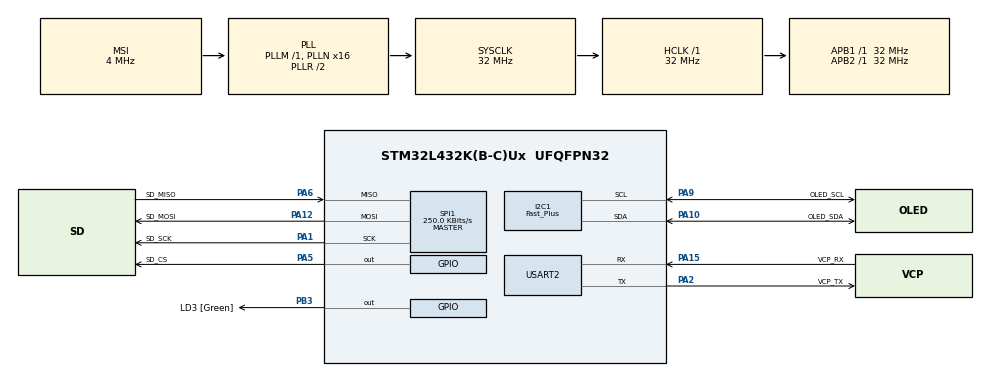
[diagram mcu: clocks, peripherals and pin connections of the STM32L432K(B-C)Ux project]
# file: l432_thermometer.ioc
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FREERTOS.BinarySemaphores01=i2cSem,Dynamic,NULL;spiSem,Dynamic,NULL
FREERTOS.Tasks01=InitDevicesTask,3,512,InitDevices_task,Default,NULL,Dynamic,NULL,NULL;ReadSHTTask,-2,128,ReadSHT_task,Default,NULL,Dynamic,NULL,NULL;DisplayDataTask,2,512,DisplayData_task,Default,NULL,Dynamic,NULL,NULL;StoreSD,-2,1024,StoreSD_task,Default,NULL,Dynamic,NULL,NULL
FREERTOS.configCHECK_FOR_STACK_OVERFLOW=1
FREERTOS.configTOTAL_HEAP_SIZE=30000
FREERTOS.configUSE_NEWLIB_REENTRANT=1
I2C1.I2C_Speed_Mode=I2C_Fast_Plus
I2C1.Timing=0x00100413
Mcu.Family=STM32L4
Mcu.Name=STM32L432K(B-C)Ux
Mcu.Package=UFQFPN32
NVIC.PriorityGroup=NVIC_PRIORITYGROUP_4
NVIC.TIM1_UP_TIM16_IRQn=true\:15\:0\:false\:false\:true\:false\:false\:true
NVIC.TimeBase=TIM1_UP_TIM16_IRQn
NVIC.TimeBaseIP=TIM16
PA0.GPIO_Label=MCO [High speed clock in]
PA0.Mode=HSE-External-Clock-Source-for-LittleOrca
PA0.Signal=RCC_CK_IN
PA1.GPIO_Label=SD_SCK
PA1.Mode=Full_Duplex_Master
PA1.Signal=SPI1_SCK
PA10.GPIO_Label=OLED_SDA
PA10.GPIO_Pu=GPIO_PULLUP
PA10.Mode=I2C
PA10.Signal=I2C1_SDA
PA12.GPIO_Label=SD_MOSI
PA12.Mode=Full_Duplex_Master
PA12.Signal=SPI1_MOSI
PA13\ (JTMS-SWDIO).GPIO_Label=SWDIO
PA13\ (JTMS-SWDIO).Mode=Serial_Wire
PA13\ (JTMS-SWDIO).Signal=SYS_JTMS-SWDIO
PA14\ (JTCK-SWCLK).GPIO_Label=SWCLK
PA14\ (JTCK-SWCLK).Mode=Serial_Wire
PA14\ (JTCK-SWCLK).Signal=SYS_JTCK-SWCLK
PA15\ (JTDI).GPIO_Label=VCP_RX
PA15\ (JTDI).Mode=Asynchronous
PA15\ (JTDI).Signal=USART2_RX
PA2.GPIO_Label=VCP_TX
PA2.Mode=Asynchronous
PA2.Signal=USART2_TX
PA5.GPIO_Label=SD_CS
PA5.Signal=GPIO_Output
PA6.GPIO_Label=SD_MISO
PA6.Mode=Full_Duplex_Master
PA6.Signal=SPI1_MISO
PA9.GPIO_Label=OLED_SCL
PA9.GPIO_Pu=GPIO_PULLUP
PA9.Mode=I2C
PA9.Signal=I2C1_SCL
PB3\ (JTDO-TRACESWO).GPIO_Label=LD3 [Green]
PB3\ (JTDO-TRACESWO).Signal=GPIO_Output
PC14-OSC32_IN\ (PC14).Mode=LSE-External-Oscillator
PC14-OSC32_IN\ (PC14).Signal=RCC_OSC32_IN
PC15-OSC32_OUT\ (PC15).Mode=LSE-External-Oscillator
PC15-OSC32_OUT\ (PC15).Signal=RCC_OSC32_OUT
ProjectManager.HeapSize=0x200
ProjectManager.StackSize=0x400
ProjectManager.TargetToolchain=STM32CubeIDE
RCC.AHBFreq_Value=32000000
RCC.APB1Freq_Value=32000000
RCC.APB1TimFreq_Value=32000000
RCC.APB2Freq_Value=32000000
RCC.APB2TimFreq_Value=32000000
RCC.CortexFreq_Value=32000000
RCC.HCLKFreq_Value=32000000
RCC.HSE_VALUE=8000000
RCC.HSI16_VALUE=16000000
RCC.HSI48_VALUE=48000000
RCC.HSI_VALUE=16000000
RCC.MSI_VALUE=4000000
RCC.PLLMUL=RCC_PLLMUL_4
RCC.PLLN=16
RCC.SYSCLKFreq_VALUE=32000000
RCC.SYSCLKSource=RCC_SYSCLKSOURCE_PLLCLK
RCC.VCOOutputFreq_Value=64000000
SPI1.BaudRatePrescaler=SPI_BAUDRATEPRESCALER_128
SPI1.CalculateBaudRate=250.0 KBits/s
SPI1.DataSize=SPI_DATASIZE_8BIT
SPI1.Direction=SPI_DIRECTION_2LINES
SPI1.Mode=SPI_MODE_MASTER
SPI1.VirtualType=VM_MASTER
USART2.VirtualMode-Asynchronous=VM_ASYNC
VP_FATFS_VS_Generic.Mode=User_defined
VP_FREERTOS_VS_CMSIS_V1.Mode=CMSIS_V1
VP_SYS_VS_tim16.Mode=TIM16
board=NUCLEO-L432KC

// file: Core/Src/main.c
/* USER CODE BEGIN Header */
/**
  ******************************************************************************
  * @file           : main.c
  * @brief          : Main program body
  ******************************************************************************
  * @attention
  *
  * <h2><center>&copy; Copyright (c) 2021 STMicroelectronics.
  * All rights reserved.</center></h2>
  *
  * This software component is licensed by ST under BSD 3-Clause license,
  * the "License"; You may not use this file except in compliance with the
  * License. You may obtain a copy of the License at:
  *                        opensource.org/licenses/BSD-3-Clause
  *
  ******************************************************************************
  */
/* USER CODE END Header */
#include "main.h"
#include "cmsis_os.h"
#include "fatfs.h"
#include "i2c.h"
#include "spi.h"
#include "usart.h"
#include "gpio.h"

void SystemClock_Config(void);
void MX_FREERTOS_Init(void);

int main(void)
{

  /* MCU Configuration--------------------------------------------------------*/

  /* Reset of all peripherals, Initializes the Flash interface and the Systick. */
  HAL_Init();

  /* Configure the system clock */
  SystemClock_Config();

  /* Initialize all configured peripherals */
  MX_GPIO_Init();
  MX_USART2_UART_Init();
  MX_I2C1_Init();
  MX_SPI1_Init();
  MX_FATFS_Init();

  /* Call init function for freertos objects (in freertos.c) */
  MX_FREERTOS_Init();
  /* Start scheduler */
  osKernelStart();

  /* We should never get here as control is now taken by the scheduler */
  /* Infinite loop */
  while (1)
  {

  }
}

void SystemClock_Config(void)
{
  RCC_OscInitTypeDef RCC_OscInitStruct = {0};
  RCC_ClkInitTypeDef RCC_ClkInitStruct = {0};

  /** Configure the main internal regulator output voltage
  */
  if (HAL_PWREx_ControlVoltageScaling(PWR_REGULATOR_VOLTAGE_SCALE1) != HAL_OK)
  {
    Error_Handler();
  }
  /** Configure LSE Drive Capability
  */
  HAL_PWR_EnableBkUpAccess();
  __HAL_RCC_LSEDRIVE_CONFIG(RCC_LSEDRIVE_LOW);
  /** Initializes the RCC Oscillators according to the specified parameters
  * in the RCC_OscInitTypeDef structure.
  */
  RCC_OscInitStruct.OscillatorType = RCC_OSCILLATORTYPE_LSE|RCC_OSCILLATORTYPE_MSI;
  RCC_OscInitStruct.LSEState = RCC_LSE_ON;
  RCC_OscInitStruct.MSIState = RCC_MSI_ON;
  RCC_OscInitStruct.MSICalibrationValue = 0;
  RCC_OscInitStruct.MSIClockRange = RCC_MSIRANGE_6;
  RCC_OscInitStruct.PLL.PLLState = RCC_PLL_ON;
  RCC_OscInitStruct.PLL.PLLSource = RCC_PLLSOURCE_MSI;
  RCC_OscInitStruct.PLL.PLLM = 1;
  RCC_OscInitStruct.PLL.PLLN = 16;
  RCC_OscInitStruct.PLL.PLLP = RCC_PLLP_DIV7;
  RCC_OscInitStruct.PLL.PLLQ = RCC_PLLQ_DIV2;
  RCC_OscInitStruct.PLL.PLLR = RCC_PLLR_DIV2;
  if (HAL_RCC_OscConfig(&RCC_OscInitStruct) != HAL_OK)
  {
    Error_Handler();
  }
  /** Initializes the CPU, AHB and APB buses clocks
  */
  RCC_ClkInitStruct.ClockType = RCC_CLOCKTYPE_HCLK|RCC_CLOCKTYPE_SYSCLK
                              |RCC_CLOCKTYPE_PCLK1|RCC_CLOCKTYPE_PCLK2;
  RCC_ClkInitStruct.SYSCLKSource = RCC_SYSCLKSOURCE_PLLCLK;
  RCC_ClkInitStruct.AHBCLKDivider = RCC_SYSCLK_DIV1;
  RCC_ClkInitStruct.APB1CLKDivider = RCC_HCLK_DIV1;
  RCC_ClkInitStruct.APB2CLKDivider = RCC_HCLK_DIV1;

  if (HAL_RCC_ClockConfig(&RCC_ClkInitStruct, FLASH_LATENCY_1) != HAL_OK)
  {
    Error_Handler();
  }
  /** Enable MSI Auto calibration
  */
  HAL_RCCEx_EnableMSIPLLMode();
}

void HAL_TIM_PeriodElapsedCallback(TIM_HandleTypeDef *htim)
{
  if (htim->Instance == TIM16) {
    HAL_IncTick();
  }
}

void Error_Handler(void)
{
  __disable_irq();
  while (1)
  {
  }
}

/************************ (C) COPYRIGHT STMicroelectronics *****END OF FILE****/

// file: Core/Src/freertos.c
/* USER CODE BEGIN Header */
/**
 ******************************************************************************
 * File Name          : freertos.c
 * Description        : Code for freertos applications
 ******************************************************************************
 * @attention
 *
 * <h2><center>&copy; Copyright (c) 2021 STMicroelectronics.
 * All rights reserved.</center></h2>
 *
 * This software component is licensed by ST under Ultimate Liberty license
 * SLA0044, the "License"; You may not use this file except in compliance with
 * the License. You may obtain a copy of the License at:
 *                             www.st.com/SLA0044
 *
 ******************************************************************************
 */
/* USER CODE END Header */

#include "FreeRTOS.h"
#include "task.h"
#include "main.h"
#include "cmsis_os.h"

/* USER CODE BEGIN Includes */
#include "ssd1306.h"
#include "ssd1306_fonts.h"
#include "i2c.h"
#include "sht3x.h"
#include "usart.h"
#include <stdbool.h>

#include "fatfs.h"
#include <stdio.h>
#include <string.h>
#include <stdarg.h> //for va_list var arg functions
/* USER CODE END Includes */

/* USER CODE BEGIN Variables */
float temp, hum;

sht3x_handle_t handle = { .i2c_handle = &hi2c1, .device_address =
		SHT3X_I2C_DEVICE_ADDRESS_ADDR_PIN_LOW };

FATFS FatFs; 	//Fatfs handle
FIL fil; 		//File handle
FRESULT fres; //Result after operations
char logfileName[] = "LOGDATA.TXT";
/* USER CODE END Variables */
osThreadId InitDevicesTaskHandle;
osThreadId ReadSHTTaskHandle;
osThreadId DisplayDataTaskHandle;
osThreadId StoreSDHandle;
osSemaphoreId i2cSemHandle;
osSemaphoreId spiSemHandle;

/* USER CODE BEGIN FunctionPrototypes */
void myprintf(const char *fmt, ...);
void GetSdProperties(void);
void CreateSDCardLogFile(void);
void UpdateLogFile(void);
/* USER CODE END FunctionPrototypes */

void InitDevices_task(void const * argument);
void ReadSHT_task(void const * argument);
void DisplayData_task(void const * argument);
void StoreSD_task(void const * argument);

void MX_FREERTOS_Init(void); /* (MISRA C 2004 rule 8.1) */

/* GetIdleTaskMemory prototype (linked to static allocation support) */
void vApplicationGetIdleTaskMemory( StaticTask_t **ppxIdleTaskTCBBuffer, StackType_t **ppxIdleTaskStackBuffer, uint32_t *pulIdleTaskStackSize );

/* Hook prototypes */
void vApplicationStackOverflowHook(xTaskHandle xTask, signed char *pcTaskName);

/* USER CODE BEGIN 4 */
void vApplicationStackOverflowHook(xTaskHandle xTask, signed char *pcTaskName) {
	/* Run time stack overflow checking is performed if
	 configCHECK_FOR_STACK_OVERFLOW is defined to 1 or 2. This hook function is
	 called if a stack overflow is detected. */
	for (int var = 0; var < 20; ++var) {
		HAL_GPIO_WritePin(LD3_GPIO_Port, LD3_Pin, GPIO_PIN_SET);
		osDelay(2000);
		HAL_GPIO_WritePin(LD3_GPIO_Port, LD3_Pin, GPIO_PIN_RESET);
		osDelay(2000);
	}
}

void myprintf(const char *fmt, ...) {
	static char buffer[256];
	va_list args;
	va_start(args, fmt);
	vsnprintf(buffer, sizeof(buffer), fmt, args);
	va_end(args);

	int len = strlen(buffer);
	HAL_UART_Transmit(&huart2, (uint8_t*) buffer, len, -1);

}

void GetSdProperties(void) {
	//some variables for FatFs
	FATFS FatFs; 	//Fatfs handle
	FIL fil; 		//File handle
	FRESULT fres; //Result after operations

	//Open the file system
	fres = f_mount(&FatFs, "", 1); //1=mount now
	if (fres != FR_OK) {
		while (1) {
			myprintf("f_mount error (%i)\r\n", fres);
		}
	}

	//		//Let's get some statistics from the SD card
	DWORD free_clusters, free_sectors, total_sectors;
	FATFS *getFreeFs;
	fres = f_getfree("", &free_clusters, &getFreeFs);
	if (fres != FR_OK) {
		while (1) {
			myprintf("f_getfree error (%i)\r\n", fres);
		}
	}

	//Formula comes from ChaN's documentation
	total_sectors = (getFreeFs->n_fatent - 2) * getFreeFs->csize;
	free_sectors = free_clusters * getFreeFs->csize;
	myprintf(
			"SD card stats:\r\n%10lu KiB total drive space.\r\n%10lu KiB available.\r\n",
			total_sectors / 2, free_sectors / 2);
}

void CreateSDCardLogFile(void) {
	//Open the file system
	osSemaphoreWait(spiSemHandle, osWaitForever);
	fres = f_mount(&FatFs, "/", 1); //1=mount now
	if (fres != FR_OK) {
		while (1) {
			myprintf("f_mount error (%i)\r\n", fres);
		}
	}
	//create file
	fres = f_open(&fil, logfileName,
			FA_WRITE | FA_OPEN_ALWAYS | FA_CREATE_ALWAYS);
	if (fres == FR_OK) {
		myprintf("I was able to open 'LogData.txt' for writing\r\n");
	} else {
		myprintf("f_open error during file creation (%i)\r\n", fres);
	}

	//Close your file!
	f_close(&fil);
	osSemaphoreRelease(spiSemHandle);
}

void UpdateLogFile(void) {
	//some variables for FatFs

	BYTE sensorData[30];
	memset(sensorData, 0, sizeof sensorData);
	UINT bytesWrote;
	osSemaphoreWait(spiSemHandle, osWaitForever);
	//store sht data
	snprintf((char*) sensorData, sizeof(sensorData), "Temp:%.3f | Hum:%.3f\n",
			temp, hum);
	fres = f_mount(&FatFs, "/", 1); //1=mount now
	if (fres != FR_OK) {
//		while (1) {
		myprintf("f_mount error (%i)\r\n", fres);
//		}
	}
	fres = f_open(&fil, logfileName, FA_OPEN_APPEND | FA_WRITE);
	if (fres != FR_OK) {
		myprintf("can't open file to append. Err code:%i", fres);
	}
	myprintf("file to store in:%s", &logfileName);
	fres = f_write(&fil, sensorData, 30, &bytesWrote);
	if (fres == FR_OK) {
		myprintf("Wrote %i bytes to 'logdata.txt'!\r\n", bytesWrote);
	} else {
		myprintf(
				"f_write error during sht data storing (err code:%i | byteswritten:%i)\r\n",
				fres, bytesWrote);
	}
	//Close your file!
	f_close(&fil);

	osSemaphoreRelease(spiSemHandle);
}
/* USER CODE END 4 */

/* USER CODE BEGIN GET_IDLE_TASK_MEMORY */
static StaticTask_t xIdleTaskTCBBuffer;
static StackType_t xIdleStack[configMINIMAL_STACK_SIZE];

void vApplicationGetIdleTaskMemory(StaticTask_t **ppxIdleTaskTCBBuffer,
		StackType_t **ppxIdleTaskStackBuffer, uint32_t *pulIdleTaskStackSize) {
	*ppxIdleTaskTCBBuffer = &xIdleTaskTCBBuffer;
	*ppxIdleTaskStackBuffer = &xIdleStack[0];
	*pulIdleTaskStackSize = configMINIMAL_STACK_SIZE;
	/* place for user code */
}
/* USER CODE END GET_IDLE_TASK_MEMORY */

void MX_FREERTOS_Init(void) {

  /* Create the semaphores(s) */
  /* definition and creation of i2cSem */
  osSemaphoreDef(i2cSem);
  i2cSemHandle = osSemaphoreCreate(osSemaphore(i2cSem), 1);

  /* definition and creation of spiSem */
  osSemaphoreDef(spiSem);
  spiSemHandle = osSemaphoreCreate(osSemaphore(spiSem), 1);

  /* Create the thread(s) */
  /* definition and creation of InitDevicesTask */
  osThreadDef(InitDevicesTask, InitDevices_task, osPriorityRealtime, 0, 512);
  InitDevicesTaskHandle = osThreadCreate(osThread(InitDevicesTask), NULL);

  /* definition and creation of ReadSHTTask */
  osThreadDef(ReadSHTTask, ReadSHT_task, osPriorityLow, 0, 128);
  ReadSHTTaskHandle = osThreadCreate(osThread(ReadSHTTask), NULL);

  /* definition and creation of DisplayDataTask */
  osThreadDef(DisplayDataTask, DisplayData_task, osPriorityHigh, 0, 512);
  DisplayDataTaskHandle = osThreadCreate(osThread(DisplayDataTask), NULL);

  /* definition and creation of StoreSD */
  osThreadDef(StoreSD, StoreSD_task, osPriorityLow, 0, 1024);
  StoreSDHandle = osThreadCreate(osThread(StoreSD), NULL);

}

void InitDevices_task(void const * argument)
{
  /* USER CODE BEGIN InitDevices_task */
	/* Infinite loop */
	for (;;) {
		//init oled
		HAL_GPIO_WritePin(LD3_GPIO_Port, LD3_Pin, GPIO_PIN_RESET);
		ssd1306_Init();
		//init sht31
		if (!sht3x_init(&handle)) {
			myprintf("SHT3x access failed.\n\r");
			for (int var = 0; var < 50; ++var) {
				HAL_GPIO_WritePin(LD3_GPIO_Port, LD3_Pin, GPIO_PIN_SET);
				osDelay(50);
				HAL_GPIO_WritePin(LD3_GPIO_Port, LD3_Pin, GPIO_PIN_RESET);
				osDelay(50);
			}
			//init sd card
			GetSdProperties();
			CreateSDCardLogFile();
		}
		osThreadTerminate(InitDevicesTaskHandle);
	}
  /* USER CODE END InitDevices_task */
}

void ReadSHT_task(void const * argument)
{
  /* USER CODE BEGIN ReadSHT_task */

	/* Infinite loop */
	for (;;) {
		//read sensor data and store values
		osSemaphoreWait(i2cSemHandle, osWaitForever);
		sht3x_read_temperature_and_humidity(&handle, &temp, &hum);
		osSemaphoreRelease(i2cSemHandle);
		osDelay(3000);
	}
  /* USER CODE END ReadSHT_task */
}

void DisplayData_task(void const * argument)
{
  /* USER CODE BEGIN DisplayData_task */
	char temp_text[11];
	char hum_text[11];
	bool pxl = 0;
	/* Infinite loop */
	for (;;) {
		snprintf(temp_text, sizeof(temp_text), "Temp: %.2f", temp);
		snprintf(hum_text, sizeof(hum_text), "Hum:  %.2f", hum);
		osSemaphoreWait(i2cSemHandle, osWaitForever);
		ssd1306_SetCursor(3, 10);
		ssd1306_WriteString(temp_text, Font_11x18, White);
		ssd1306_SetCursor(3, 35);
		ssd1306_WriteString(hum_text, Font_11x18, White);
		ssd1306_DrawRectangle(0, 1, 127, 63, White);
		ssd1306_DrawPixel(125, 25, pxl);
		ssd1306_UpdateScreen();
		osSemaphoreRelease(i2cSemHandle);
		pxl = !pxl;
		osDelay(100);
	}
  /* USER CODE END DisplayData_task */
}

void StoreSD_task(void const * argument)
{
  /* USER CODE BEGIN StoreSD_task */
	/* Infinite loop */
	for (;;) {
		UpdateLogFile();
		osDelay(10000);
	}
  /* USER CODE END StoreSD_task */
}

/************************ (C) COPYRIGHT STMicroelectronics *****END OF FILE****/
